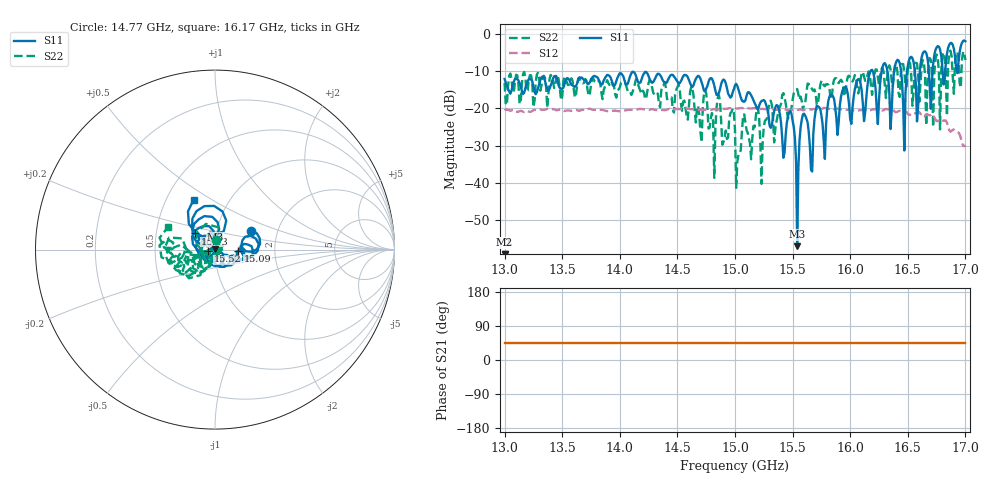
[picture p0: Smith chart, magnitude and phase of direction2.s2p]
!Keysight Technologies,P9374A,MY57211810,A.19.30.04
!Date: Friday, May 02, 2025 09:01:02
!Correction: S11(Off)
!S21(Off)
!S12(Off)
!S22(Off)
!S2P File: Measurements: S11, S21, S12, S22:
# Hz S  dB  R 50
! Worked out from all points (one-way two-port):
!   401 points, 13 GHz to 17 GHz, reference 50 ohm
!   highest |S21| = - dB at 13 GHz (marker M1); lowest = - dB at 13 GHz (marker M2)
!   lowest |S11| = -57.1 dB at 15.54 GHz (marker M3), VSWR 1.00, Z = 49.9 + j0.121 ohm
!   |S11| at or under -10 dB: start of sweep to 16.18 GHz; 16.19566 GHz to 16.27305 GHz (77.38 MHz wide, 0.477 % of centre); 16.32293 GHz to 16.38147 GHz (58.54 MHz wide, 0.358 % of centre) (the widest 3 of 8)
!   |S22| runs from -41.4 to -4.4 dB; largest |S21 - S12| = 0.1
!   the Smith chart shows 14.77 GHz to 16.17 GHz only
!   S11 on the Smith chart (normalised r, x): 14.77 GHz: 1.47, +0.32; 15.09 GHz: 1.29, -0.02; 15.52 GHz: 0.92, -0.02; 16.03 GHz: 0.79, +0.14; 16.17 GHz: 0.68, +0.42
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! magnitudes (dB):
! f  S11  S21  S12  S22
! 13 GHz  -12.1  -  -20.5  -13.1
! 13.67 GHz  -11.7  -  -20.4  -13.2
! 14.34 GHz  -10.7  -  -20.5  -18.7
! 14.77 GHz  -12.9  -  -20.3  -25.4
! 15 GHz  -13.8  -  -20.0  -25.8
! 15.09 GHz  -17.8  -  -19.9  -23.6
! 15.24 GHz  -17.9  -  -20.1  -29.1
! 15.42 GHz  -33.3  -  -20.3  -15.9
! 15.48 GHz  -20.7  -  -20.4  -20.6
! 15.52 GHz  -27.9  -  -20.5  -15.4
! 15.54 GHz  -57.1  -  -20.4  -14.8
! 15.59 GHz  -21.6  -  -20.4  -20.5
! 15.67 GHz  -37.0  -  -20.3  -14.9
! 15.72 GHz  -19.5  -  -20.1  -18.9
! 16.03 GHz  -16.9  -  -20.6  -12.1
! 16.17 GHz  -10.4  -  -20.6  -10.8
! 16.34 GHz  -16.0  -  -20.3  -8.4
! 16.41 GHz  -6.9  -  -20.9  -10.2
! 16.47 GHz  -31.3  -  -20.6  -10.0
! 16.52 GHz  -6.3  -  -21.7  -7.9
! 16.58 GHz  -23.5  -  -21.2  -7.8
! 17 GHz  -1.9  -  -29.9  -7.0
